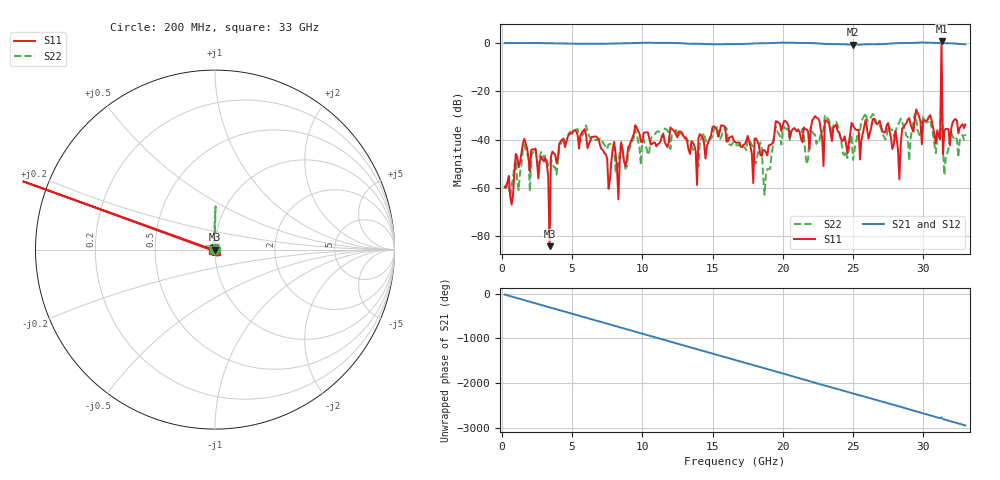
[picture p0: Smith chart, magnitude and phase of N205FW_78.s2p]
# GHZ S RI R 50
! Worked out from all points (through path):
!   329 points, 200 MHz to 33 GHz, reference 50 ohm
!   highest |S21| = 0.73 dB at 31.3 GHz (marker M1); lowest = -0.7 dB at 25 GHz (marker M2)
!   lowest |S11| = -84.2 dB at 3.4 GHz (marker M3), VSWR 1.00, Z = 50 + j0.00614 ohm
!   |S11| at or under -10 dB: start of sweep to 31.27 GHz; 31.32 GHz to end of sweep
!   |S22| runs from -63.6 to -12.4 dB; largest |S21 - S12| = 0.016
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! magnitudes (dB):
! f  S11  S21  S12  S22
! 200 MHz  -59.5  0.0  0.0  -60.4
! 3.1 GHz  -47.7  -0.1  -0.1  -46.7
! 3.4 GHz  -84.2  -0.1  -0.1  -51.2
! 3.6 GHz  -45.0  -0.1  -0.1  -49.5
! 5.7 GHz  -37.0  -0.3  -0.3  -38.7
! 7.6 GHz  -60.4  -0.2  -0.2  -42.0
! 8 GHz  -41.0  -0.1  -0.1  -42.6
! 8.3 GHz  -64.8  -0.1  -0.1  -50.0
! 8.5 GHz  -41.3  -0.1  -0.1  -41.1
! 11.2 GHz  -41.6  0.1  0.1  -36.7
! 16.6 GHz  -41.0  -0.4  -0.4  -41.9
! 18.7 GHz  -44.4  0.0  0.0  -62.9
! 19.5 GHz  -32.4  0.1  0.1  -34.5
! 22.1 GHz  -32.0  0.0  0.0  -36.7
! 25 GHz  -34.0  -0.7  -0.7  -48.4
! 27.6 GHz  -36.5  -0.2  -0.2  -35.0
! 28.3 GHz  -56.5  0.0  0.0  -32.8
! 29.5 GHz  -27.5  0.2  0.2  -30.9
! 31.2 GHz  -39.7  0.0  0.0  -39.9
! 31.3 GHz  1.1  0.7  0.6  -12.4
! 31.4 GHz  -46.0  -0.1  -0.1  -43.0
! 33 GHz  -33.7  -0.5  -0.5  -37.8
